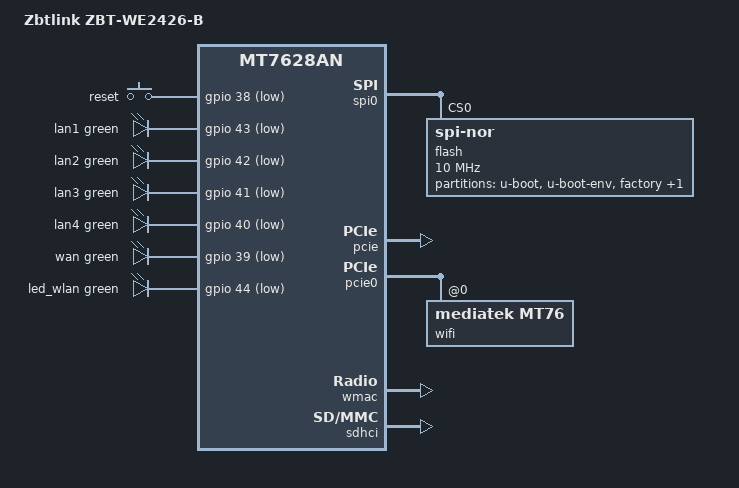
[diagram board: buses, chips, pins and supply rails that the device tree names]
// SPDX-License-Identifier: GPL-2.0-or-later OR MIT

#include "mt7628an.dtsi"

#include <dt-bindings/gpio/gpio.h>
#include <dt-bindings/input/input.h>
#include <dt-bindings/leds/common.h>

/ {
	compatible = "zbtlink,zbt-we2426-b", "mediatek,mt7628an-soc";
	model = "Zbtlink ZBT-WE2426-B";

	aliases {
		led-boot = &led_wlan;
		led-failsafe = &led_wlan;
		led-upgrade = &led_wlan;
		label-mac-device = &wmac;
	};

	keys {
		compatible = "gpio-keys";

		reset {
			label = "reset";
			gpios = <&gpio 38 GPIO_ACTIVE_LOW>;
			linux,code = <KEY_RESTART>;
		};

	};

	leds {
		compatible = "gpio-leds";

		lan1 {
			gpios = <&gpio 43 GPIO_ACTIVE_LOW>;
			color = <LED_COLOR_ID_GREEN>;
			function = LED_FUNCTION_LAN;
			function-enumerator = <1>;
		};

		lan2 {
			gpios = <&gpio 42 GPIO_ACTIVE_LOW>;
			color = <LED_COLOR_ID_GREEN>;
			function = LED_FUNCTION_LAN;
			function-enumerator = <2>;
		};

		lan3 {
			gpios = <&gpio 41 GPIO_ACTIVE_LOW>;
			color = <LED_COLOR_ID_GREEN>;
			function = LED_FUNCTION_LAN;
			function-enumerator = <3>;
		};

		lan4 {
			gpios = <&gpio 40 GPIO_ACTIVE_LOW>;
			color = <LED_COLOR_ID_GREEN>;
			function = LED_FUNCTION_LAN;
			function-enumerator = <4>;
		};

		wan {
			gpios = <&gpio 39 GPIO_ACTIVE_LOW>;
			color = <LED_COLOR_ID_GREEN>;
			function = LED_FUNCTION_WAN;
		};

		led_wlan: wlan2g {
			gpios = <&gpio 44 GPIO_ACTIVE_LOW>;
			color = <LED_COLOR_ID_GREEN>;
			function = LED_FUNCTION_WLAN;
			linux,default-trigger = "phy0tpt";
		};

	};
};

&spi0 {
	status = "okay";

	flash@0 {
		compatible = "jedec,spi-nor";
		reg = <0>;
		spi-max-frequency = <10000000>;

		partitions {
			compatible = "fixed-partitions";
			#address-cells = <1>;
			#size-cells = <1>;

			partition@0 {
				label = "u-boot";
				reg = <0x0 0x30000>;
				read-only;
			};

			partition@30000 {
				label = "u-boot-env";
				reg = <0x30000 0x10000>;
				read-only;
			};

			factory: partition@40000 {
				label = "factory";
				reg = <0x40000 0x10000>;
				read-only;

				nvmem-layout {
					compatible = "fixed-layout";
					#address-cells = <1>;
					#size-cells = <1>;

					eeprom_factory_0: eeprom@0 {
						reg = <0x0 0x400>;
					};

					eeprom_factory_8000: eeprom@8000 {
						reg = <0x8000 0x200>;
					};

					macaddr_factory_28: macaddr@28 {
						reg = <0x28 0x6>;
					};
				};
			};

			partition@50000 {
				compatible = "denx,uimage";
				label = "firmware";
				reg = <0x50000 0x7b0000>;
			};
		};
	};
};

&state_default {
	gpio {
		groups = "i2s", "refclk", "wdt", "p4led_an",
				"p3led_an", "p2led_an",
				"p1led_an", "p0led_an",
				"wled_an";
		function = "gpio";
	};
};

&pcie {
	status = "okay";
};

&pcie0 {
	wifi@0,0 {
		compatible = "mediatek,mt76";
		reg = <0x0000 0 0 0 0>;
		nvmem-cells = <&eeprom_factory_8000>;
		nvmem-cell-names = "eeprom";
		ieee80211-freq-limit = <5000000 6000000>;

		led {
			led-sources = <2>;
			led-active-low;
		};
	};
};

&wmac {
	status = "okay";

	nvmem-cells = <&eeprom_factory_0>;
	nvmem-cell-names = "eeprom";
};

&ethernet {
	nvmem-cells = <&macaddr_factory_28>;
	nvmem-cell-names = "mac-address";
};

&esw {
	mediatek,portmap = <0x2f>;
};

&sdhci {
	status = "okay";
};
